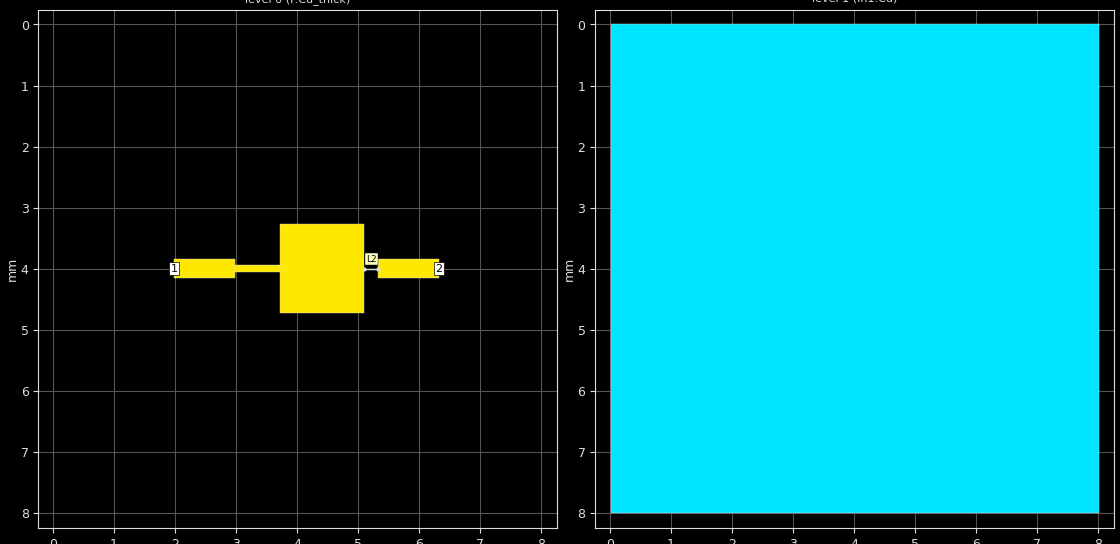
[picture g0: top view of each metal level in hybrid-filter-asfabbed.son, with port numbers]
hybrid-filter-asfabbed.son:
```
FTYP SONPROJ 19 ! Sonnet Project File
VER 18.56
HEADER
LIC antikernel2.1.51813
DAT 10/20/2022 06:55:09
BUILT_BY_CREATED xgeom 18.54 09/23/2022 20:17:08
BUILT_BY_SAVED sonnet 18.56
MDATE 10/20/2022 06:55:09
HDATE 10/20/2022 06:55:09
ANN Created by dxfgeo, Sonnet Software Inc.
END HEADER
DIM
ANG DEG
CAP FF
CON /OH
FREQ GHZ
IND PH
LNG MM
RES OH
END DIM
CONTROL
VARSWP
OPTIONS  -dj
SPEED 0
CACHE_ABS 2
Q_ACC N
END CONTROL
GEO
TMET "Free Space" 0 FREESPACE 376.7303136 0 0 0
BMET "Free Space" 0 FREESPACE 376.7303136 0 0 0
MET "Copper_1oz+plated_thick_up" 1 TMM 58000000 0.5 0.0432 2
MET "Copper_1oz+plated_thin" 4 NOR 58000000 0.5 0.0432 
MET "Copper_0.5oz_thin" 2 NOR 58000000 0.5 0.0175 
MET "Copper_1oz+plated_thick_down" 3 TMM 58000000 0.5 0.0432 2 CDVY TDWN
MET "Copper 35um" 1 VOL 58000000 0.035
BOX 4 8 8 1600 1600 20 0
      10 1 1 0 0 0 0 "Air"
      0.2021 3.61 1 0.0092 0 0 0 "Isola_FR408HR"
      1.1938 3.61 1 0.0092 0 0 0 "Isola_FR408HR"
      0.2021 3.61 1 0.0092 0 0 0 "Isola_FR408HR"
      10 1 1 0 0 0 0 "Air"
TECHLAY VIA Via1 L3D0 -7 -65534 CAD Via1 drawing 
VIA POLYGON
0 0 4 N 380 1 1 100 100 0 0 0 Y
TOLEVEL 3 RING NOCOVERS
END
END
TECHLAY METAL F.Cu_thick L1D0 -1 -65534 CAD F.Cu drawing 
0 0 0 N 338 1 1 100 100 0 0 0 Y
END
END
TECHLAY METAL F.Cu_thin <UNSPECIFIED> -2 -65534 CAD F.Cu_thin drawing 
0 0 1 N 344 1 1 100 100 0 0 0 Y
END
END
TECHLAY METAL In1.Cu L2D0 -3 -65534 CAD In1.Cu drawing 
1 0 2 N 349 1 1 100 100 0 0 0 Y
END
END
TECHLAY METAL In2.Cu <UNSPECIFIED> -4 -65534 CAD In2.Cu drawing 
2 0 2 N 352 1 1 100 100 0 0 0 Y
END
END
TECHLAY METAL B.Cu_thin <UNSPECIFIED> -6 -65534 CAD B.Cu_thin drawing 
3 0 1 N 355 1 1 100 100 0 0 0 Y
END
END
TECHLAY METAL B.Cu_thick <UNSPECIFIED> -5 -65534 CAD B.Cu drawing 
3 0 3 N 357 1 1 100 100 0 0 0 Y
END
END
DIM STD YDIR -1
POS -0.2307931482 -1.048950334
NOM 0.3
REF1 POLY 260 1
3
REF2 POLY 260 1
0
END
DIM STD XDIR 1
POS 1.597383878 -0.1628358242
NOM 1
REF1 POLY 260 1
0
REF2 POLY 260 1
1
END
DIM STD YDIR -1
POS 0.8086943266 -0.8240376151
NOM 1.46
REF1 POLY 267 1
3
REF2 POLY 267 1
0
END
DIM STD XDIR 1
POS 0.8425802959 -0.07903880881
NOM 1.38
REF1 POLY 267 1
0
REF2 POLY 267 1
1
END
DIM STD XDIR 1
POS 0.8956909543 -0.0801707071
NOM 0.735
REF1 POLY 308 1
0
REF2 POLY 308 1
1
END
DIM STD YDIR 1
POS -0.2057769376 0.03688434157
NOM 0.11
REF1 POLY 308 1
1
REF2 POLY 308 1
2
END
DIM STD YDIR -1
POS 0.3442068518 -1.023950334
NOM 0.3
REF1 POLY 313 1
3
REF2 POLY 313 1
0
END
DIM STD XDIR 1
POS 1.597383878 -0.1628358242
NOM 1
REF1 POLY 313 1
0
REF2 POLY 313 1
1
END
LORGN 0 8 U 
POR1 CUP Auto
GNDREF AUTO
TERMW FEED
POLY 260 1
3
1 50 0 0 0 1.985 4 
CUPGRP "Auto" LOCAL
ID 381
END
POR1 CUP Auto
GNDREF AUTO
TERMW FEED
POLY 313 1
1
2 50 0 0 0 6.325 4 
CUPGRP "Auto" LOCAL
ID 382
END
SMD 0 "L2"
ID 322
GNDREF AUTO
SBOX 5.15625 5.26875 3.94375 4.05625
PBSHW N
LPOS 5.2125 3.94375
TYPE SPARAM 1
SMDP 0 5.325 4 R 3 1 
EXSMDP
GNDREF AUTO
TERMW FEED
END EXSMDP
SMDP 0 5.1 4 L 4 2 
EXSMDP
GNDREF AUTO
TERMW CUST 0.3
END EXSMDP
END
NUM 5
0 5 0 N 260 1 1 100 100 0 0 0 Y
TLAYNAM F.Cu_thick INH
1.985 3.85
2.985 3.85
2.985 4.15
1.985 4.15
1.985 3.85
END
0 5 0 N 267 1 1 100 100 0 0 0 Y
TLAYNAM F.Cu_thick INH
3.72 3.27
5.1 3.27
5.1 4.73
3.72 4.73
3.72 3.27
END
0 5 0 N 308 1 1 100 100 0 0 0 Y
TLAYNAM F.Cu_thick INH
2.985 3.94
3.72 3.94
3.72 4.05
2.985 4.05
2.985 3.94
END
0 5 0 N 313 1 1 100 100 0 0 0 Y
TLAYNAM F.Cu_thick INH
5.325 3.85
6.325 3.85
6.325 4.15
5.325 4.15
5.325 3.85
END
1 5 2 N 83 1 1 100 100 0 0 0 Y
TLAYNAM In1.Cu INH
USER_DAT FromImport
8.0125 0
0.0125 0
0.0125 8
8.0125 8
8.0125 0
END
END GEO
OPT
MAX 100
END OPT
VARSWP
ENABLED Y
FREQ Y AY ABS_ENTRY 0.1 16.0 -1 300 
END
END VARSWP
SMDFILES
1 "../../../../../../ceph/bulk/datasheets/Murata/Inductor/LQP03TN2N2B02.s2p"
END SMDFILES
```
